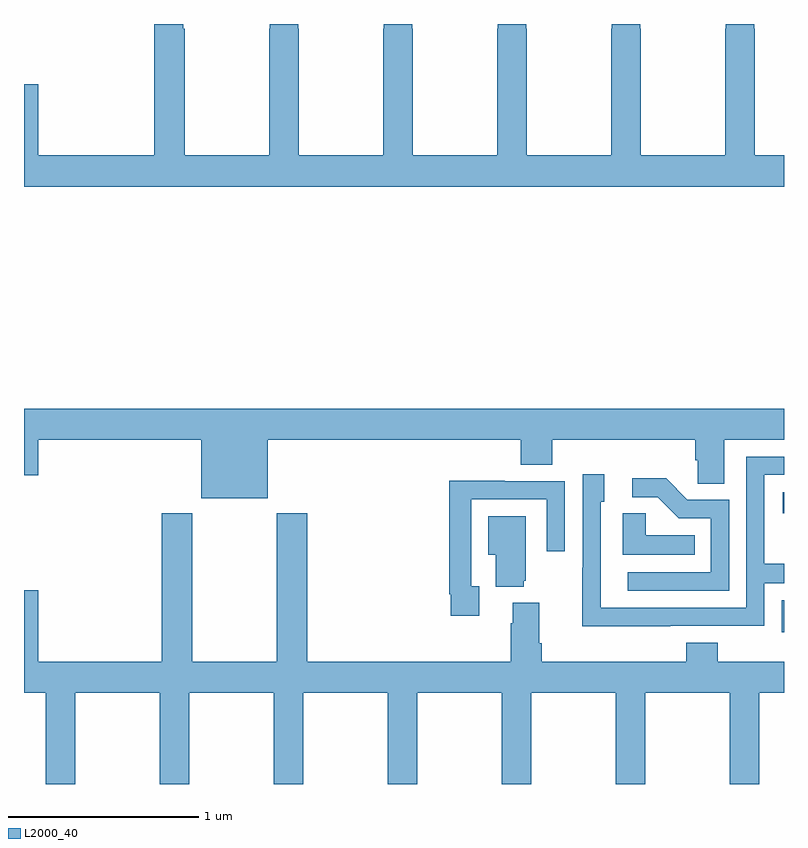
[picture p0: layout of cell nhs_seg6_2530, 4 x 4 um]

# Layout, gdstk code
import gdstk
lib = gdstk.Library(unit=1e-6, precision=1e-09)
def R(c, l, rs):  # rectangles x0, y0, x1, y1
    for r in rs: c.add(gdstk.rectangle(r[:2], r[2:], *l))
def P(c, l, *ps):  # polygons
    for p in ps: c.add(gdstk.Polygon(p, *l))
L2000_40 = (2000, 40)

nhs_seg6_2530 = lib.new_cell('nhs_seg6_2530')
R(nhs_seg6_2530, L2000_40, [(264.987,970.299,265,970.467), (264.993,970.925,265,971.035)])
P(nhs_seg6_2530, L2000_40, [(265,972.808),(264.846,972.808),(264.846,973.475),(264.843,973.475),(264.843,973.5),(264.693,973.5),(264.693,973.475),(264.691,973.475),(264.691,972.808),(264.246,972.808),(264.246,973.475),(264.243,973.475),(264.243,973.5),(264.093,973.5),(264.093,973.475),(264.091,973.475),(264.091,972.808),(263.646,972.808),(263.646,973.475),(263.643,973.475),(263.643,973.5),(263.493,973.5),(263.493,973.475),(263.491,973.475),(263.491,972.808),(263.046,972.808),(263.046,973.475),(263.043,973.475),(263.043,973.5),(262.893,973.5),(262.893,973.475),(262.891,973.475),(262.891,972.808),(262.446,972.808),(262.446,973.475),(262.443,973.475),(262.443,973.5),(262.293,973.5),(262.293,973.475),(262.291,973.475),(262.291,972.808),(261.846,972.808),(261.846,973.475),(261.839,973.475),(261.839,973.5),(261.686,973.5),(261.686,972.808),(261.076,972.808),(261.076,973.183),(261,973.183),(261,972.644),(265,972.644)],
  [(262.282,971.312),(263.615,971.312),(263.615,971.179),(263.78,971.179),(263.78,971.312),(264.533,971.312),(264.533,971.203),(264.546,971.203),(264.546,971.08),(264.685,971.08),(264.685,971.312),(265,971.312),(265,971.476),(261,971.476),(261,971.124),(261.076,971.124),(261.076,971.312),(261.932,971.312),(261.932,971.003),(262.282,971.003)],
  [(264.401,970.332),(264.897,970.332),(264.897,970.557),(265,970.557),(265,970.658),(264.897,970.658),(264.897,971.127),(265,971.127),(265,971.223),(264.801,971.223),(264.801,970.428),(264.036,970.428),(264.036,970.986),(264.055,970.986),(264.055,971.131),(263.94,971.131),(263.94,970.637),(263.938,970.637),(263.938,970.331),(264.401,970.331)],
  [(264.711,970.995),(264.492,970.995),(264.379,971.108),(264.201,971.108),(264.201,971.01),(264.335,971.01),(264.446,970.899),(264.615,970.899),(264.615,970.614),(264.177,970.614),(264.177,970.518),(264.711,970.518)],
  [(263.395,970.542),(263.355,970.542),(263.355,970.998),(263.751,970.998),(263.751,970.725),(263.847,970.725),(263.847,971.094),(263.531,971.094),(263.531,971.096),(263.239,971.096),(263.239,970.498),(263.247,970.498),(263.247,970.386),(263.395,970.386)],
  [(264.53,970.81),(264.273,970.81),(264.273,970.925),(264.152,970.925),(264.152,970.706),(264.53,970.706)],
  [(261.076,970.519),(261,970.519),(261,969.98),(261.115,969.98),(261.115,969.5),(261.27,969.5),(261.27,969.98),(261.715,969.98),(261.715,969.5),(261.87,969.5),(261.87,969.98),(262.315,969.98),(262.315,969.5),(262.47,969.5),(262.47,969.98),(262.915,969.98),(262.915,969.5),(263.07,969.5),(263.07,969.98),(263.515,969.98),(263.515,969.5),(263.67,969.5),(263.67,969.98),(264.115,969.98),(264.115,969.5),(264.27,969.5),(264.27,969.98),(264.715,969.98),(264.715,969.5),(264.87,969.5),(264.87,969.98),(265,969.98),(265,970.144),(264.65,970.144),(264.65,970.243),(264.485,970.243),(264.485,970.144),(263.726,970.144),(263.726,970.24),(263.713,970.24),(263.713,970.453),(263.573,970.453),(263.573,970.346),(263.561,970.346),(263.561,970.144),(262.49,970.144),(262.49,970.924),(262.33,970.924),(262.33,970.144),(261.885,970.144),(261.885,970.924),(261.725,970.924),(261.725,970.144),(261.076,970.144)],
  [(263.63,970.569),(263.641,970.569),(263.641,970.909),(263.444,970.909),(263.444,970.706),(263.483,970.706),(263.483,970.538),(263.63,970.538)])

lib.write_gds('nhs_seg6_2530.gds')
